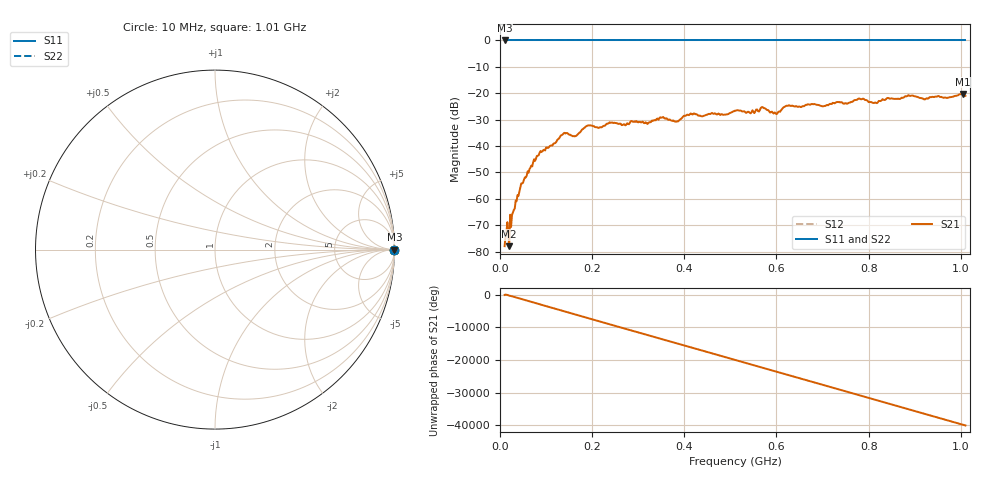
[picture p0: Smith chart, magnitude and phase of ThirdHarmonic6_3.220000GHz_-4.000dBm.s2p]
! 8/17/2025 9:49:39 AM
! C:\ANRITSUVNA\TEMP\TEMP.S2P
! CHANNEL.1
! TR.MEASUREMENT
! RAW.DATA
! RF.CORRECTION.OFF
! AVERAGING.OFF
! IF.BANDWIDTH: 5KHZ
! SWEEPTYPE:  FREQ.SWEEP(Linear)
! Reference Plane Port Info
! PORT:  PORT1  PORT2
! DISTANCE:  0  m  0  m
! TIME:  0  s  0  s
! PHASE.OFFSET:  0  deg.  0  deg.
! LOSS:  0  dB  0  dB
! REF.LOSS:  0  dB  0  dB
! REF.FREQ:  0  Hz  0  Hz
! Power Info
! POWER:  -20  dBm  -20  dBm
! EFF.POWER:  -20  dBm  -20  dBm
! SOURCE.ATTEN:  0  dB  0  dB
! TEST.ATTEN:  0  dB  0  dB
# GHZ S RI R 50.0
! FREQ.GHZ  S11RE  S11IM  S21RE  S21IM  S12RE  S12IM  S22RE  S22IM
!; PortSelection: Port_12
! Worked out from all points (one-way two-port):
!   501 points, 10 MHz to 1.01 GHz, reference 50 ohm
!   highest |S21| = -20.28 dB at 1.004 GHz (marker M1); lowest = -77.9 dB at 20 MHz (marker M2)
!   lowest |S11| = 0.0 dB at 10 MHz (marker M3)
!   |S11| at or under -10 dB: nowhere
!   |S22| runs from 0.0 to 0.0 dB; largest |S21 - S12| = 1.1
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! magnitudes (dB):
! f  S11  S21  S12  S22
! 10 MHz  0.0  -77.9  0.0  0.0
! 20 MHz  0.0  -77.9  0.0  0.0
! 26 MHz  0.0  -66.1  0.0  0.0
! 48 MHz  0.0  -54.2  0.0  0.0
! 84 MHz  0.0  -43.5  0.0  0.0
! 136 MHz  0.0  -35.6  0.0  0.0
! 162 MHz  0.0  -36.3  0.0  0.0
! 178 MHz  0.0  -33.7  0.0  0.0
! 192 MHz  0.0  -32.1  0.0  0.0
! 344 MHz  0.0  -30.0  0.0  0.0
! 382 MHz  0.0  -30.8  0.0  0.0
! 410 MHz  0.0  -28.3  0.0  0.0
! 510 MHz  0.0  -26.6  0.0  0.0
! 570 MHz  0.0  -25.2  0.0  0.0
! 598 MHz  0.0  -27.5  0.0  0.0
! 624 MHz  0.0  -24.8  0.0  0.0
! 678 MHz  0.0  -24.1  0.0  0.0
! 782 MHz  0.0  -22.2  0.0  0.0
! 814 MHz  0.0  -23.5  0.0  0.0
! 844 MHz  0.0  -21.9  0.0  0.0
! 1.004 GHz  0.0  -20.3  0.0  0.0
! 1.01 GHz  0.0  -21.0  0.0  0.0
